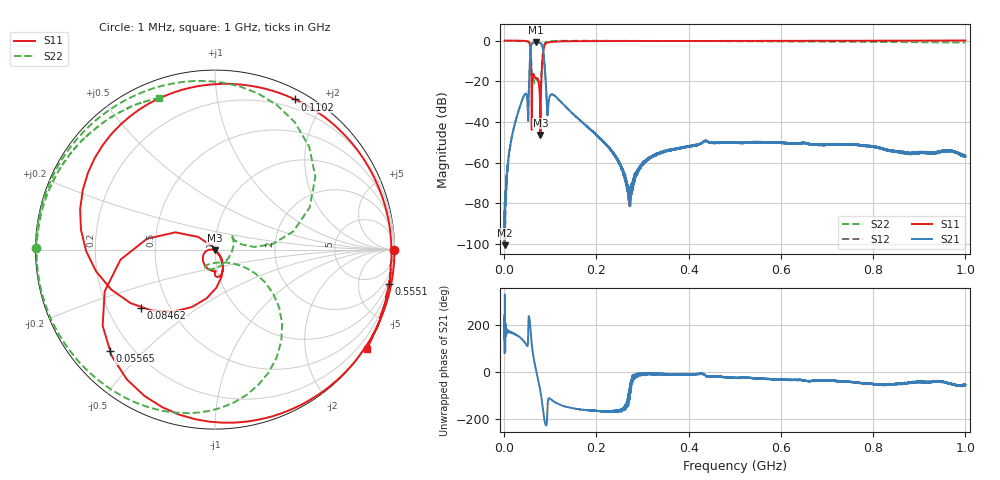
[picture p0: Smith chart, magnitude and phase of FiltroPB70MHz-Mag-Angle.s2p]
# Hz S MA R 50
! CMT, S5048, 17087083, 18.1.5/2
! Date: 07/03/2018 15:11:06
! Data: Format (Calibration Info)
! Freq  S11: Mag/Ang (F2)  S21: Mag/Ang (F2)  S12: Mag/Ang (F2)  S22: Mag/Ang (F2)
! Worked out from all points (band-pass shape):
!   10000 points, 1 MHz to 1 GHz, reference 50 ohm
!   highest |S21| = -0.89 dB at 68.34 MHz (marker M1); lowest = -100.8 dB at 1.1 MHz (marker M2)
!   |S21| within 3 dB of the highest: 57.69 MHz to 83.89 MHz (26.2 MHz wide, 37 % of centre)
!   lowest |S11| = -46.3 dB at 78.73 MHz (marker M3), VSWR 1.01, Z = 49.8 - j0.412 ohm
!   |S11| at or under -10 dB: 58.23 MHz to 82.89 MHz (24.66 MHz wide, 35 % of centre)
!   |S22| runs from -22.7 to 0.0 dB; largest |S21 - S12| = 0.0015
!   S11 on the Smith chart (normalised r, x): 1 MHz: open; 55.65 MHz: 0.12, -0.40; 84.62 MHz: 0.35, -0.31; 110.2 MHz: 0.10, +1.66; 555.1 MHz: 1, -10; 1 GHz: -0.07, -3.34
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1000000  0.9999 -0.1  4.444e-05 137.8  2.425e-05 17.8  0.9976 179.5
1099910  0.9999 -0.2  9.154e-06 -117.0  0.000105 -108.4  0.9977 179.5
1.528713e7  1.001 -11.7  0.003487 167.4  0.00359 165.8  0.9968 169.4
3.906571e7  0.9969 -42.5  0.03475 138.0  0.03467 138.0  0.9858 142.3
4.935644e7  0.9778 -75.6  0.04332 109.8  0.04334 110.0  0.9627 112.0
5.565077e7  0.8165 -136.0  0.2764 -146.8  0.2762 -146.8  0.8281 56.2
6.294419e7  0.1532 -82.7  0.8823 70.7  0.8825 70.8  0.1201 33.9
6.833933e7  0.12 -87.8  0.9025 14.1  0.9022 14.2  0.0981 -77.1
7.872997e7  0.004821 -120.7  0.8674 -84.3  0.8674 -84.2  0.07582 -71.1
8.462466e7  0.5236 -141.9  0.5636 -167.7  0.5636 -167.7  0.5937 -50.9
9.481548e7  0.9031 106.1  0.02052 -126.3  0.02044 -126.1  0.9599 -117.5
1.102016e8  0.9483 61.9  0.04354 -129.7  0.04353 -129.5  0.9856 -144.6
1.6755e8  0.9733 24.1  0.01032 -160.7  0.01027 -161.1  0.9947 -172.0
2.405842e8  0.9795 10.5  0.001414 -166.6  0.001476 -167.1  0.9919 175.1
2.724554e8  0.9811 6.9  0.0001157 -70.2  0.0001416 -78.5  0.9898 171.1
2.963339e8  0.9816 4.5  0.0008209 -10.5  0.0007663 -9.8  0.9887 168.4
3.34e8  0.9823 1.4  0.001724 -9.4  0.00168 -10.1  0.9865 164.3
5.0055e8  0.9865 -8.6  0.003115 -25.9  0.003126 -26.1  0.9702 149.0
5.551008e8  0.988 -11.3  0.0031 -29.5  0.003197 -28.7  0.964 144.5
6.67e8  0.9924 -16.8  0.002682 -38.9  0.002783 -39.2  0.9493 135.6
8.3355e8  1 -24.7  0.001983 -56.1  0.002014 -55.9  0.9272 122.5
1e9  1.012 -33.3  0.001374 -57.3  0.001382 -58.3  0.9001 110.2
